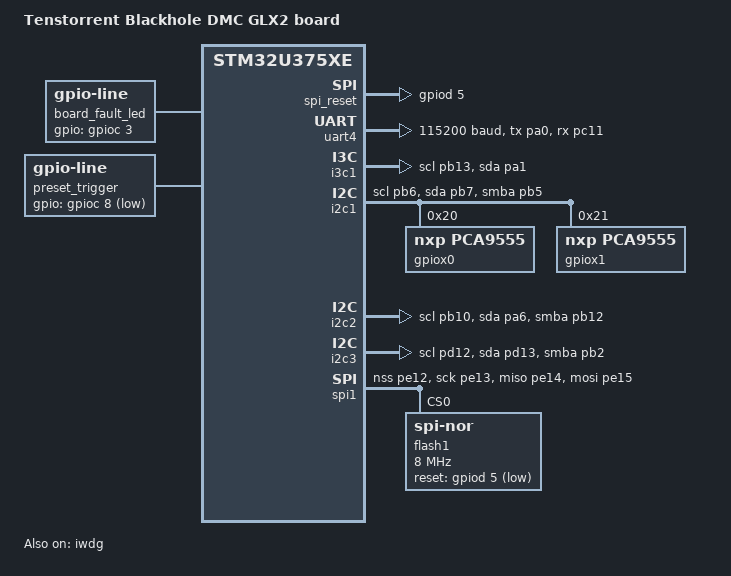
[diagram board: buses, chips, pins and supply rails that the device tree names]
/*
 * Copyright (c) 2026 Tenstorrent AI ULC
 *
 * SPDX-License-Identifier: Apache-2.0
 */

/dts-v1/;
#include <st/u3/stm32u375Xe.dtsi>
#include <st/u3/stm32u375veix-pinctrl.dtsi>

/ {
	model = "Tenstorrent Blackhole DMC GLX2 board";
	compatible = "tenstorrent,tt-blackhole-dmc-glx2";

	chosen {
		zephyr,code-partition = &slot0_partition;
		zephyr,flash = &flash0;
		zephyr,sram = &sram0;
	};

	aliases {
		watchdog0 = &iwdg;
	};

	/* LED Output to board fault indicator */
	board_fault_led {
		compatible = "zephyr,gpio-line";
		gpios = <&gpioc 3 GPIO_ACTIVE_HIGH>;
	};

	chip0: chip0 {
		compatible = "tenstorrent,bh-chip";

		/* Power good indicator */
		pgood {
			compatible = "zephyr,gpio-line";
			gpios = <&gpioc 9 GPIO_PULL_DOWN>;
		};

		/* Line to asic reset */
		asic_reset {
			compatible = "zephyr,gpio-line";
			gpios = <&gpioc 4 GPIO_ACTIVE_LOW>;
		};

		/* Thermal trip indicator */
		therm_trip {
			compatible = "zephyr,gpio-line";
			gpios = <&gpioa 2 GPIO_ACTIVE_HIGH>;
		};

		flash = <&flash1>;

		/* Line to spi mux, drive low to enable dmfw -> eeprom */
		spi_mux {
			compatible = "zephyr,gpio-line";
			gpios = <&gpiob 0 GPIO_ACTIVE_LOW>;
		};

		/* Line to spi reset */
		spi_reset {
			compatible = "zephyr,gpio-line";
			gpios = <&gpiod 5 GPIO_ACTIVE_LOW>;
		};

		arc = <&chip0_arc>;

		jtag0: jtag {
			compatible = "zephyr,jtag-gpio";
			port-write-cycles = <2>;

			tms-gpios = <&gpiod 0 GPIO_ACTIVE_HIGH>;
			tck-gpios = <&gpiod 1 GPIO_ACTIVE_HIGH>;
			tdo-gpios = <&gpiod 3 GPIO_PULL_UP>;
			tdi-gpios = <&gpiod 4 GPIO_ACTIVE_HIGH>;
		};
	};

	/* Input from PCIe card edge triggering an asic reset */
	preset_trigger {
		compatible = "zephyr,gpio-line";
		gpios = <&gpioc 8 (GPIO_ACTIVE_LOW | GPIO_PULL_UP)>;
	};

	chips {
		compatible = "tenstorrent,bh-chips";
		chips = <&chip0>;
		primary = <0>;
	};
};

&rcc {
	clocks = <&clk_msis>;
	clock-frequency = <DT_FREQ_M(96)>;
	ahb-prescaler = <1>;
	apb1-prescaler = <1>;
	apb2-prescaler = <1>;
	apb3-prescaler = <1>;
};

&clk_hsi {
	status = "okay";
};

&clk_hsi48 {
	status = "okay";
};

&clk_lse {
	status = "okay";
};

&clk_msik {
	status = "okay";
};

&clk_msis {
	status = "okay";
	msi-pll-mode;
	msi-range = <0>; /* 96MHz (reset value) */
};

&flash0 {
	partitions {
		compatible = "fixed-partitions";
		#address-cells = <1>;
		#size-cells = <1>;

		boot_partition: partition@0 {
			label = "mcuboot";
			reg = <0x00000000 DT_SIZE_K(64)>;
		};

		slot0_partition: partition@10000 {
			label = "image-0";
			reg = <0x00010000 DT_SIZE_K(192)>;
		};

		slot1_partition: partition@40000 {
			label = "image-1";
			reg = <0x00040000 DT_SIZE_K(192)>;
		};
	};
};

&iwdg {
	status = "okay";
};

&uart4 {
	pinctrl-0 = <&uart4_tx_pa0 &uart4_rx_pc11>;
	pinctrl-names = "default";
	current-speed = <115200>;
	status = "okay";
};

/*
 *&uart5 {
 *	pinctrl-0 = <&uart5_tx_pc12 &uart5_rx_pd2>;
 *	pinctrl-names = "default";
 *	current-speed = <115200>;
 *	status = "okay";
 *};
 */

&i3c1 {
	pinctrl-0 = <&i3c1_scl_pb13 &i3c1_sda_pa1>;
	pinctrl-names = "default";
	status = "okay";
	i3c-scl-hz = <1000000>;   /* 1 MHz I3C frequency */
	i2c-scl-hz = <400000>;
	target-mode;
	mipi-instance = <0x0>;
};

&i2c1 {
	pinctrl-0 = <&i2c1_scl_pb6 &i2c1_sda_pb7 &i2c1_smba_pb5>;
	pinctrl-names = "default";
	status = "okay";

	gpiox0: gpio@20 {
		compatible = "nxp,pca9555";
		status = "okay";
		#gpio-cells = <2>;
		ngpios = <16>;
		reg = <0x20>;
		gpio-controller;
	};

	gpiox1: gpio@21 {
		compatible = "nxp,pca9555";
		status = "okay";
		#gpio-cells = <2>;
		ngpios = <16>;
		reg = <0x21>;
		gpio-controller;
	};
};

&i2c2 {
	pinctrl-0 = <&i2c2_scl_pb10 &i2c2_sda_pa6 &i2c2_smba_pb12>;
	pinctrl-names = "default";
	status = "okay";
};

&i2c3 {
	pinctrl-0 = <&i2c3_scl_pd12 &i2c3_sda_pd13 &i2c3_smba_pb2>;
	pinctrl-names = "default";
	status = "okay";
};

/ {
	smbus3: smbus3 {
		compatible = "st,stm32-smbus";
		#address-cells = <1>;
		#size-cells = <0>;
		i2c = <&i2c3>;
		status = "okay";

		chip0_arc: bh_arc@a {
			compatible = "tenstorrent,bh-arc";
			reg = <0xa>;
			status = "okay";
		};
	};
};

&spi1 {
	pinctrl-0 = <&spi1_nss_pe12 &spi1_sck_pe13
		     &spi1_miso_pe14 &spi1_mosi_pe15>;
	pinctrl-names = "default";
	status = "okay";

	flash1: spi-flash@0 {
		compatible = "jedec,spi-nor";
		status = "okay";

		reset-gpios = <&gpiod 5 (GPIO_ACTIVE_LOW | GPIO_PULL_UP)>;

		reg = <0>;
		spi-max-frequency = <8000000>;
		spi-cpol;
		spi-cpha;

		size = <DT_SIZE_M(512)>; /* Size in bits */

		has-dpd;
		t-enter-dpd = <3000>;
		t-exit-dpd = <30000>;

		#address-cells = <1>;
		#size-cells = <1>;

		nv_flash: nv-flash@0 {
			compatible = "soc-nv-flash";
			reg = <0 DT_SIZE_M(64)>;
			write-block-size = <1>;
			erase-block-size = <DT_SIZE_K(4)>;
		};
	};
};

&nv_flash {
#include "../tt_blackhole/tt_blackhole_fixed_partitions.dtsi"
};
